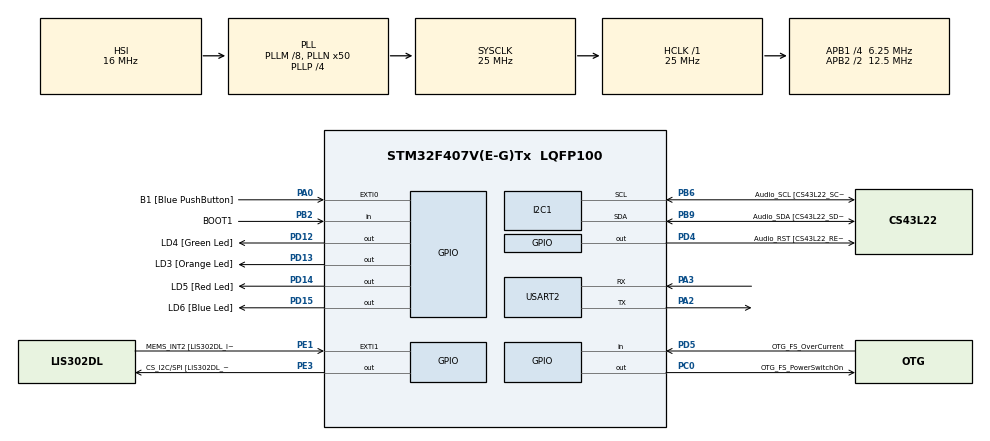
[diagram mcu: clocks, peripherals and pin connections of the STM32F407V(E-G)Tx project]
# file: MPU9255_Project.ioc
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I2C1.I2C_Mode=I2C_Fast
Mcu.Family=STM32F4
Mcu.Name=STM32F407V(E-G)Tx
Mcu.Package=LQFP100
NVIC.PriorityGroup=NVIC_PRIORITYGROUP_0
NVIC.TIM3_IRQn=true\:0\:0\:false\:false\:true\:false\:true
NVIC.TimeBase=TIM3_IRQn
NVIC.TimeBaseIP=TIM3
PA0-WKUP.GPIO_Label=B1 [Blue PushButton]
PA0-WKUP.Signal=GPXTI0
PA10.GPIO_Label=OTG_FS_ID
PA10.GPIO_Mode=GPIO_MODE_AF_PP
PA10.GPIO_PuPd=GPIO_NOPULL
PA10.GPIO_Speed=GPIO_SPEED_FREQ_LOW
PA10.Signal=USB_OTG_FS_ID
PA11.GPIO_Label=OTG_FS_DM
PA11.GPIO_Mode=GPIO_MODE_AF_PP
PA11.GPIO_PuPd=GPIO_NOPULL
PA11.GPIO_Speed=GPIO_SPEED_FREQ_LOW
PA11.Signal=USB_OTG_FS_DM
PA12.GPIO_Label=OTG_FS_DP
PA12.GPIO_Mode=GPIO_MODE_AF_PP
PA12.GPIO_PuPd=GPIO_NOPULL
PA12.GPIO_Speed=GPIO_SPEED_FREQ_LOW
PA12.Signal=USB_OTG_FS_DP
PA13.GPIO_Label=SWDIO
PA13.Mode=Serial_Wire
PA13.Signal=SYS_JTMS-SWDIO
PA14.GPIO_Label=SWCLK
PA14.Mode=Serial_Wire
PA14.Signal=SYS_JTCK-SWCLK
PA2.Mode=Asynchronous
PA2.Signal=USART2_TX
PA3.Mode=Asynchronous
PA3.Signal=USART2_RX
PA4.GPIO_Label=I2S3_WS [CS43L22_LRCK]
PA4.GPIO_Mode=GPIO_MODE_AF_PP
PA4.GPIO_PuPd=GPIO_NOPULL
PA4.GPIO_Speed=GPIO_SPEED_FREQ_LOW
PA4.Signal=I2S3_WS
PA5.GPIO_Label=SPI1_SCK [LIS302DL_SCL/SPC]
PA5.GPIO_Mode=GPIO_MODE_AF_PP
PA5.GPIO_PuPd=GPIO_NOPULL
PA5.GPIO_Speed=GPIO_SPEED_FREQ_LOW
PA5.Signal=SPI1_SCK
PA6.GPIO_Label=SPI1_MISO [LIS302DL_SDO]
PA6.GPIO_Mode=GPIO_MODE_AF_PP
PA6.GPIO_PuPd=GPIO_NOPULL
PA6.GPIO_Speed=GPIO_SPEED_FREQ_LOW
PA6.Signal=SPI1_MISO
PA7.GPIO_Label=SPI1_MOSI [LIS302DL_SDA/SDI/SDO]
PA7.GPIO_Mode=GPIO_MODE_AF_PP
PA7.GPIO_PuPd=GPIO_NOPULL
PA7.GPIO_Speed=GPIO_SPEED_FREQ_LOW
PA7.Signal=SPI1_MOSI
PA9.GPIO_Label=VBUS_FS
PA9.GPIO_Mode=GPIO_MODE_INPUT
PA9.GPIO_PuPd=GPIO_NOPULL
PA9.Signal=USB_OTG_FS_VBUS
PB10.GPIO_Label=CLK_IN [MP45DT02_CLK]
PB10.GPIO_Mode=GPIO_MODE_AF_PP
PB10.GPIO_PuPd=GPIO_NOPULL
PB10.GPIO_Speed=GPIO_SPEED_FREQ_LOW
PB10.Signal=I2S2_CK
PB2.GPIO_Label=BOOT1
PB2.GPIO_Mode=GPIO_MODE_INPUT
PB2.GPIO_PuPd=GPIO_NOPULL
PB2.Signal=GPIO_Input
PB3.GPIO_Label=SWO
PB3.Signal=SYS_JTDO-SWO
PB6.GPIO_Label=Audio_SCL [CS43L22_SCL]
PB6.GPIO_Mode=GPIO_MODE_AF_OD
PB6.GPIO_PuPd=GPIO_NOPULL
PB6.GPIO_Speed=GPIO_SPEED_FREQ_LOW
PB6.Mode=I2C
PB6.Signal=I2C1_SCL
PB9.GPIO_Label=Audio_SDA [CS43L22_SDA]
PB9.GPIO_Mode=GPIO_MODE_AF_OD
PB9.GPIO_PuPd=GPIO_NOPULL
PB9.GPIO_Speed=GPIO_SPEED_FREQ_LOW
PB9.Mode=I2C
PB9.Signal=I2C1_SDA
PC0.GPIO_Label=OTG_FS_PowerSwitchOn
PC0.GPIO_PuPd=GPIO_NOPULL
PC0.GPIO_Speed=GPIO_SPEED_FREQ_LOW
PC0.PinState=GPIO_PIN_SET
PC0.Signal=GPIO_Output
PC10.GPIO_Label=I2S3_SCK [CS43L22_SCLK]
PC10.GPIO_Mode=GPIO_MODE_AF_PP
PC10.GPIO_PuPd=GPIO_NOPULL
PC10.GPIO_Speed=GPIO_SPEED_FREQ_LOW
PC10.Signal=I2S3_CK
PC12.GPIO_Label=I2S3_SD [CS43L22_SDIN]
PC12.GPIO_Mode=GPIO_MODE_AF_PP
PC12.GPIO_PuPd=GPIO_NOPULL
PC12.GPIO_Speed=GPIO_SPEED_FREQ_LOW
PC12.Signal=I2S3_SD
PC14-OSC32_IN.GPIO_Label=PC14-OSC32_IN
PC14-OSC32_IN.Signal=RCC_OSC32_IN
PC15-OSC32_OUT.GPIO_Label=PC15-OSC32_OUT
PC15-OSC32_OUT.Signal=RCC_OSC32_OUT
PC3.GPIO_Label=PDM_OUT [MP45DT02_DOUT]
PC3.GPIO_Mode=GPIO_MODE_AF_PP
PC3.GPIO_PuPd=GPIO_NOPULL
PC3.GPIO_Speed=GPIO_SPEED_FREQ_LOW
PC3.Signal=I2S2_SD
PC7.GPIO_Label=I2S3_MCK [CS43L22_MCLK]
PC7.GPIO_Mode=GPIO_MODE_AF_PP
PC7.GPIO_PuPd=GPIO_NOPULL
PC7.GPIO_Speed=GPIO_SPEED_FREQ_LOW
PC7.Signal=I2S3_MCK
PD12.GPIO_Label=LD4 [Green Led]
PD12.GPIO_PuPd=GPIO_NOPULL
PD12.GPIO_Speed=GPIO_SPEED_FREQ_LOW
PD12.Signal=GPIO_Output
PD13.GPIO_Label=LD3 [Orange Led]
PD13.GPIO_PuPd=GPIO_NOPULL
PD13.GPIO_Speed=GPIO_SPEED_FREQ_LOW
PD13.Signal=GPIO_Output
PD14.GPIO_Label=LD5 [Red Led]
PD14.GPIO_PuPd=GPIO_NOPULL
PD14.GPIO_Speed=GPIO_SPEED_FREQ_LOW
PD14.Signal=GPIO_Output
PD15.GPIO_Label=LD6 [Blue Led]
PD15.GPIO_PuPd=GPIO_NOPULL
PD15.GPIO_Speed=GPIO_SPEED_FREQ_LOW
PD15.Signal=GPIO_Output
PD4.GPIO_Label=Audio_RST [CS43L22_RESET]
PD4.GPIO_PuPd=GPIO_NOPULL
PD4.GPIO_Speed=GPIO_SPEED_FREQ_LOW
PD4.Signal=GPIO_Output
PD5.GPIO_Label=OTG_FS_OverCurrent
PD5.GPIO_Mode=GPIO_MODE_INPUT
PD5.GPIO_PuPd=GPIO_NOPULL
PD5.Signal=GPIO_Input
PE1.GPIO_Label=MEMS_INT2 [LIS302DL_INT2]
PE1.GPIO_ModeDefaultEXTI=GPIO_MODE_EVT_RISING
PE1.GPIO_PuPd=GPIO_NOPULL
PE1.Signal=GPXTI1
PE3.GPIO_Label=CS_I2C/SPI [LIS302DL_CS_I2C/SPI]
PE3.GPIO_PuPd=GPIO_NOPULL
PE3.GPIO_Speed=GPIO_SPEED_FREQ_LOW
PE3.Signal=GPIO_Output
PH0-OSC_IN.GPIO_Label=PH0-OSC_IN
PH0-OSC_IN.Signal=RCC_OSC_IN
PH1-OSC_OUT.GPIO_Label=PH1-OSC_OUT
PH1-OSC_OUT.Signal=RCC_OSC_OUT
ProjectManager.HeapSize=0x200
ProjectManager.StackSize=0x400
ProjectManager.TargetToolchain=STM32CubeIDE
RCC.48MHZClocksFreq_Value=14285714.285714285
RCC.AHBFreq_Value=25000000
RCC.APB1CLKDivider=RCC_HCLK_DIV4
RCC.APB1Freq_Value=6250000
RCC.APB1TimFreq_Value=12500000
RCC.APB2CLKDivider=RCC_HCLK_DIV2
RCC.APB2Freq_Value=12500000
RCC.APB2TimFreq_Value=25000000
RCC.CortexFreq_Value=25000000
RCC.HCLKFreq_Value=25000000
RCC.HSE_VALUE=8000000
RCC.HSI_VALUE=16000000
RCC.LSE_VALUE=32768
RCC.PLLM=8
RCC.PLLN=50
RCC.PLLP=RCC_PLLP_DIV4
RCC.PLLQ=7
RCC.SYSCLKFreq_VALUE=25000000
RCC.SYSCLKSource=RCC_SYSCLKSOURCE_PLLCLK
RCC.VCOOutputFreq_Value=100000000
USART2.VirtualMode=VM_ASYNC
VP_SYS_VS_tim3.Mode=TIM3
board=STM32F407G-DISC1

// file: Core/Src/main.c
/* USER CODE BEGIN Header */
/**
  ******************************************************************************
  * @file           : main.c
  * @brief          : Main program body
  ******************************************************************************
  * @attention
  *
  * Copyright (c) 2022 STMicroelectronics.
  * All rights reserved.
  *
  * This software is licensed under terms that can be found in the LICENSE file
  * in the root directory of this software component.
  * If no LICENSE file comes with this software, it is provided AS-IS.
  *
  ******************************************************************************
  */
/* USER CODE END Header */
#include "main.h"

/* USER CODE BEGIN Includes */
#include "string.h"
#include "mpu9255.h"
//#include "MPU9250.cpp"
/* USER CODE END Includes */

I2C_HandleTypeDef hi2c1;

UART_HandleTypeDef huart2;

/* USER CODE BEGIN PV */
MPU9255_t MPU9255;
/* USER CODE END PV */

void SystemClock_Config(void);
static void MX_GPIO_Init(void);
static void MX_I2C1_Init(void);
static void MX_USART2_UART_Init(void);

/* USER CODE BEGIN 0 */
float pitch;
float yaw;
float roll;
char data[130];
int16_t Gyro_Data[3];

/* USER CODE END 0 */

int main(void)
{

  /* MCU Configuration--------------------------------------------------------*/

  /* Reset of all peripherals, Initializes the Flash interface and the Systick. */
  HAL_Init();

  /* Configure the system clock */
  SystemClock_Config();

  /* Initialize all configured peripherals */
  MX_GPIO_Init();
  MX_I2C1_Init();
  MX_USART2_UART_Init();
  /* USER CODE BEGIN 2 */
  while (MPU9255_Init(&hi2c1) == 1);
  HAL_Delay(3000);
  /* USER CODE END 2 */

  /* Infinite loop */
  while (1)
  {

    /* USER CODE BEGIN 3 */
        HAL_Delay(50);
        readAll(&hi2c1, &MPU9255);

		pitch = MPU9255.pitch;
		yaw = MPU9255.yaw;
		roll= MPU9255.roll;

		memset(data, '\0', sizeof(data));
		sprintf(data, "%.3f,%.3f,%.3f\r\n", roll,pitch,yaw);
		HAL_UART_Transmit(&huart2, (uint8_t *)data, strlen(data), 0xffff);

  }
  /* USER CODE END 3 */
}

void SystemClock_Config(void)
{
  RCC_OscInitTypeDef RCC_OscInitStruct = {0};
  RCC_ClkInitTypeDef RCC_ClkInitStruct = {0};

  /** Configure the main internal regulator output voltage
  */
  __HAL_RCC_PWR_CLK_ENABLE();
  __HAL_PWR_VOLTAGESCALING_CONFIG(PWR_REGULATOR_VOLTAGE_SCALE1);
  /** Initializes the RCC Oscillators according to the specified parameters
  * in the RCC_OscInitTypeDef structure.
  */
  RCC_OscInitStruct.OscillatorType = RCC_OSCILLATORTYPE_HSI;
  RCC_OscInitStruct.HSIState = RCC_HSI_ON;
  RCC_OscInitStruct.HSICalibrationValue = RCC_HSICALIBRATION_DEFAULT;
  RCC_OscInitStruct.PLL.PLLState = RCC_PLL_ON;
  RCC_OscInitStruct.PLL.PLLSource = RCC_PLLSOURCE_HSI;
  RCC_OscInitStruct.PLL.PLLM = 8;
  RCC_OscInitStruct.PLL.PLLN = 50;
  RCC_OscInitStruct.PLL.PLLP = RCC_PLLP_DIV4;
  RCC_OscInitStruct.PLL.PLLQ = 7;
  if (HAL_RCC_OscConfig(&RCC_OscInitStruct) != HAL_OK)
  {
    Error_Handler();
  }
  /** Initializes the CPU, AHB and APB buses clocks
  */
  RCC_ClkInitStruct.ClockType = RCC_CLOCKTYPE_HCLK|RCC_CLOCKTYPE_SYSCLK
                              |RCC_CLOCKTYPE_PCLK1|RCC_CLOCKTYPE_PCLK2;
  RCC_ClkInitStruct.SYSCLKSource = RCC_SYSCLKSOURCE_PLLCLK;
  RCC_ClkInitStruct.AHBCLKDivider = RCC_SYSCLK_DIV1;
  RCC_ClkInitStruct.APB1CLKDivider = RCC_HCLK_DIV4;
  RCC_ClkInitStruct.APB2CLKDivider = RCC_HCLK_DIV2;

  if (HAL_RCC_ClockConfig(&RCC_ClkInitStruct, FLASH_LATENCY_0) != HAL_OK)
  {
    Error_Handler();
  }
}

static void MX_I2C1_Init(void)
{

  hi2c1.Instance = I2C1;
  hi2c1.Init.ClockSpeed = 400000;
  hi2c1.Init.DutyCycle = I2C_DUTYCYCLE_2;
  hi2c1.Init.OwnAddress1 = 0;
  hi2c1.Init.AddressingMode = I2C_ADDRESSINGMODE_7BIT;
  hi2c1.Init.DualAddressMode = I2C_DUALADDRESS_DISABLE;
  hi2c1.Init.OwnAddress2 = 0;
  hi2c1.Init.GeneralCallMode = I2C_GENERALCALL_DISABLE;
  hi2c1.Init.NoStretchMode = I2C_NOSTRETCH_DISABLE;
  if (HAL_I2C_Init(&hi2c1) != HAL_OK)
  {
    Error_Handler();
  }

}

static void MX_USART2_UART_Init(void)
{

  huart2.Instance = USART2;
  huart2.Init.BaudRate = 115200;
  huart2.Init.WordLength = UART_WORDLENGTH_8B;
  huart2.Init.StopBits = UART_STOPBITS_1;
  huart2.Init.Parity = UART_PARITY_NONE;
  huart2.Init.Mode = UART_MODE_TX_RX;
  huart2.Init.HwFlowCtl = UART_HWCONTROL_NONE;
  huart2.Init.OverSampling = UART_OVERSAMPLING_16;
  if (HAL_UART_Init(&huart2) != HAL_OK)
  {
    Error_Handler();
  }

}

static void MX_GPIO_Init(void)
{
  GPIO_InitTypeDef GPIO_InitStruct = {0};

  /* GPIO Ports Clock Enable */
  __HAL_RCC_GPIOE_CLK_ENABLE();
  __HAL_RCC_GPIOC_CLK_ENABLE();
  __HAL_RCC_GPIOH_CLK_ENABLE();
  __HAL_RCC_GPIOA_CLK_ENABLE();
  __HAL_RCC_GPIOB_CLK_ENABLE();
  __HAL_RCC_GPIOD_CLK_ENABLE();

  /*Configure GPIO pin Output Level */
  HAL_GPIO_WritePin(CS_I2C_SPI_GPIO_Port, CS_I2C_SPI_Pin, GPIO_PIN_RESET);

  /*Configure GPIO pin Output Level */
  HAL_GPIO_WritePin(OTG_FS_PowerSwitchOn_GPIO_Port, OTG_FS_PowerSwitchOn_Pin, GPIO_PIN_SET);

  /*Configure GPIO pin Output Level */
  HAL_GPIO_WritePin(GPIOD, LD4_Pin|LD3_Pin|LD5_Pin|LD6_Pin
                          |Audio_RST_Pin, GPIO_PIN_RESET);

  /*Configure GPIO pin : CS_I2C_SPI_Pin */
  GPIO_InitStruct.Pin = CS_I2C_SPI_Pin;
  GPIO_InitStruct.Mode = GPIO_MODE_OUTPUT_PP;
  GPIO_InitStruct.Pull = GPIO_NOPULL;
  GPIO_InitStruct.Speed = GPIO_SPEED_FREQ_LOW;
  HAL_GPIO_Init(CS_I2C_SPI_GPIO_Port, &GPIO_InitStruct);

  /*Configure GPIO pin : OTG_FS_PowerSwitchOn_Pin */
  GPIO_InitStruct.Pin = OTG_FS_PowerSwitchOn_Pin;
  GPIO_InitStruct.Mode = GPIO_MODE_OUTPUT_PP;
  GPIO_InitStruct.Pull = GPIO_NOPULL;
  GPIO_InitStruct.Speed = GPIO_SPEED_FREQ_LOW;
  HAL_GPIO_Init(OTG_FS_PowerSwitchOn_GPIO_Port, &GPIO_InitStruct);

  /*Configure GPIO pin : PDM_OUT_Pin */
  GPIO_InitStruct.Pin = PDM_OUT_Pin;
  GPIO_InitStruct.Mode = GPIO_MODE_AF_PP;
  GPIO_InitStruct.Pull = GPIO_NOPULL;
  GPIO_InitStruct.Speed = GPIO_SPEED_FREQ_LOW;
  GPIO_InitStruct.Alternate = GPIO_AF5_SPI2;
  HAL_GPIO_Init(PDM_OUT_GPIO_Port, &GPIO_InitStruct);

  /*Configure GPIO pin : B1_Pin */
  GPIO_InitStruct.Pin = B1_Pin;
  GPIO_InitStruct.Mode = GPIO_MODE_IT_RISING;
  GPIO_InitStruct.Pull = GPIO_NOPULL;
  HAL_GPIO_Init(B1_GPIO_Port, &GPIO_InitStruct);

  /*Configure GPIO pin : I2S3_WS_Pin */
  GPIO_InitStruct.Pin = I2S3_WS_Pin;
  GPIO_InitStruct.Mode = GPIO_MODE_AF_PP;
  GPIO_InitStruct.Pull = GPIO_NOPULL;
  GPIO_InitStruct.Speed = GPIO_SPEED_FREQ_LOW;
  GPIO_InitStruct.Alternate = GPIO_AF6_SPI3;
  HAL_GPIO_Init(I2S3_WS_GPIO_Port, &GPIO_InitStruct);

  /*Configure GPIO pins : SPI1_SCK_Pin SPI1_MISO_Pin SPI1_MOSI_Pin */
  GPIO_InitStruct.Pin = SPI1_SCK_Pin|SPI1_MISO_Pin|SPI1_MOSI_Pin;
  GPIO_InitStruct.Mode = GPIO_MODE_AF_PP;
  GPIO_InitStruct.Pull = GPIO_NOPULL;
  GPIO_InitStruct.Speed = GPIO_SPEED_FREQ_LOW;
  GPIO_InitStruct.Alternate = GPIO_AF5_SPI1;
  HAL_GPIO_Init(GPIOA, &GPIO_InitStruct);

  /*Configure GPIO pin : BOOT1_Pin */
  GPIO_InitStruct.Pin = BOOT1_Pin;
  GPIO_InitStruct.Mode = GPIO_MODE_INPUT;
  GPIO_InitStruct.Pull = GPIO_NOPULL;
  HAL_GPIO_Init(BOOT1_GPIO_Port, &GPIO_InitStruct);

  /*Configure GPIO pin : CLK_IN_Pin */
  GPIO_InitStruct.Pin = CLK_IN_Pin;
  GPIO_InitStruct.Mode = GPIO_MODE_AF_PP;
  GPIO_InitStruct.Pull = GPIO_NOPULL;
  GPIO_InitStruct.Speed = GPIO_SPEED_FREQ_LOW;
  GPIO_InitStruct.Alternate = GPIO_AF5_SPI2;
  HAL_GPIO_Init(CLK_IN_GPIO_Port, &GPIO_InitStruct);

  /*Configure GPIO pins : LD4_Pin LD3_Pin LD5_Pin LD6_Pin
                           Audio_RST_Pin */
  GPIO_InitStruct.Pin = LD4_Pin|LD3_Pin|LD5_Pin|LD6_Pin
                          |Audio_RST_Pin;
  GPIO_InitStruct.Mode = GPIO_MODE_OUTPUT_PP;
  GPIO_InitStruct.Pull = GPIO_NOPULL;
  GPIO_InitStruct.Speed = GPIO_SPEED_FREQ_LOW;
  HAL_GPIO_Init(GPIOD, &GPIO_InitStruct);

  /*Configure GPIO pins : I2S3_MCK_Pin I2S3_SCK_Pin I2S3_SD_Pin */
  GPIO_InitStruct.Pin = I2S3_MCK_Pin|I2S3_SCK_Pin|I2S3_SD_Pin;
  GPIO_InitStruct.Mode = GPIO_MODE_AF_PP;
  GPIO_InitStruct.Pull = GPIO_NOPULL;
  GPIO_InitStruct.Speed = GPIO_SPEED_FREQ_LOW;
  GPIO_InitStruct.Alternate = GPIO_AF6_SPI3;
  HAL_GPIO_Init(GPIOC, &GPIO_InitStruct);

  /*Configure GPIO pin : VBUS_FS_Pin */
  GPIO_InitStruct.Pin = VBUS_FS_Pin;
  GPIO_InitStruct.Mode = GPIO_MODE_INPUT;
  GPIO_InitStruct.Pull = GPIO_NOPULL;
  HAL_GPIO_Init(VBUS_FS_GPIO_Port, &GPIO_InitStruct);

  /*Configure GPIO pins : OTG_FS_ID_Pin OTG_FS_DM_Pin OTG_FS_DP_Pin */
  GPIO_InitStruct.Pin = OTG_FS_ID_Pin|OTG_FS_DM_Pin|OTG_FS_DP_Pin;
  GPIO_InitStruct.Mode = GPIO_MODE_AF_PP;
  GPIO_InitStruct.Pull = GPIO_NOPULL;
  GPIO_InitStruct.Speed = GPIO_SPEED_FREQ_LOW;
  GPIO_InitStruct.Alternate = GPIO_AF10_OTG_FS;
  HAL_GPIO_Init(GPIOA, &GPIO_InitStruct);

  /*Configure GPIO pin : OTG_FS_OverCurrent_Pin */
  GPIO_InitStruct.Pin = OTG_FS_OverCurrent_Pin;
  GPIO_InitStruct.Mode = GPIO_MODE_INPUT;
  GPIO_InitStruct.Pull = GPIO_NOPULL;
  HAL_GPIO_Init(OTG_FS_OverCurrent_GPIO_Port, &GPIO_InitStruct);

  /*Configure GPIO pin : MEMS_INT2_Pin */
  GPIO_InitStruct.Pin = MEMS_INT2_Pin;
  GPIO_InitStruct.Mode = GPIO_MODE_EVT_RISING;
  GPIO_InitStruct.Pull = GPIO_NOPULL;
  HAL_GPIO_Init(MEMS_INT2_GPIO_Port, &GPIO_InitStruct);

}

void HAL_TIM_PeriodElapsedCallback(TIM_HandleTypeDef *htim)
{
  if (htim->Instance == TIM3) {
    HAL_IncTick();
  }
}

void Error_Handler(void)
{
  __disable_irq();
  while (1)
  {
  }
}
